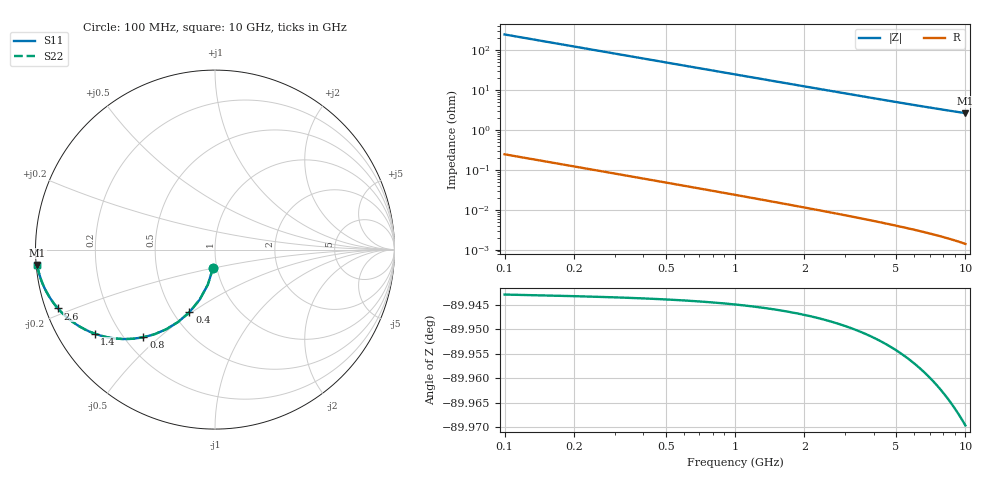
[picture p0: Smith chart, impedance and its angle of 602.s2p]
# Hz S RI R 50.00
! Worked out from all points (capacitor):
!   100 points, 100 MHz to 10 GHz, reference 50 ohm
!   read as one part in shunt: C = 6.49 pF near 100 MHz
!   lowest |Z| = 2.63 ohm at 10 GHz (marker M1)
!   S11 on the Smith chart (normalised r, x): 100 MHz: 0.96, -0.20; 400 MHz: 0.60, -0.49; 800 MHz: 0.27, -0.44; 1.4 GHz: 0.11, -0.31; 2.6 GHz: 0.03, -0.18; 10 GHz: 0.00, -0.04
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1e8  -0.0103 -0.1008  0.9896 -0.1009  0.9896 -0.1009  -0.0103 -0.1008
2e8  -0.04 -0.1954  0.9599 -0.1958  0.9599 -0.1958  -0.04 -0.1954
3e8  -0.0857 -0.2792  0.9142 -0.2797  0.9142 -0.2797  -0.0857 -0.2792
4e8  -0.1427 -0.3489  0.8572 -0.3497  0.8572 -0.3497  -0.1427 -0.3489
5e8  -0.2063 -0.4037  0.7936 -0.4046  0.7936 -0.4046  -0.2063 -0.4037
6e8  -0.2723 -0.4441  0.7276 -0.4452  0.7276 -0.4452  -0.2723 -0.4441
7e8  -0.3374 -0.4717  0.6625 -0.473  0.6625 -0.473  -0.3374 -0.4717
8e8  -0.3993 -0.4885  0.6006 -0.49  0.6006 -0.49  -0.3993 -0.4885
9e8  -0.4569 -0.4968  0.543 -0.4984  0.543 -0.4984  -0.4569 -0.4968
1.1e9  -0.5568 -0.4953  0.4431 -0.4972  0.4431 -0.4972  -0.5568 -0.4953
1.2e9  -0.5992 -0.4885  0.4007 -0.4906  0.4007 -0.4906  -0.5992 -0.4885
1.4e9  -0.6704 -0.4683  0.3295 -0.4708  0.3295 -0.4708  -0.6704 -0.4683
1.6e9  -0.7265 -0.4438  0.2734 -0.4467  0.2734 -0.4467  -0.7265 -0.4438
1.8e9  -0.7707 -0.4182  0.2292 -0.4214  0.2292 -0.4214  -0.7707 -0.4182
2.2e9  -0.8339 -0.3696  0.166 -0.3736  0.166 -0.3736  -0.8339 -0.3696
2.6e9  -0.8752 -0.3275  0.1247 -0.3323  0.1247 -0.3323  -0.8752 -0.3275
3.4e9  -0.9231 -0.2628  0.0768 -0.2689  0.0768 -0.2689  -0.9231 -0.2628
4.2e9  -0.9483 -0.217  0.0516 -0.2247  0.0516 -0.2247  -0.9483 -0.217
5.1e9  -0.9644 -0.1799  0.0355 -0.1893  0.0355 -0.1893  -0.9644 -0.1799
6.7e9  -0.9791 -0.1358  0.0207 -0.1482  0.0207 -0.1482  -0.9791 -0.1358
8.4e9  -0.9867 -0.1055  0.013 -0.1212  0.013 -0.1212  -0.9867 -0.1055
1e10  -0.9907 -0.0853  0.00904 -0.1043  0.00904 -0.1043  -0.9907 -0.0853
